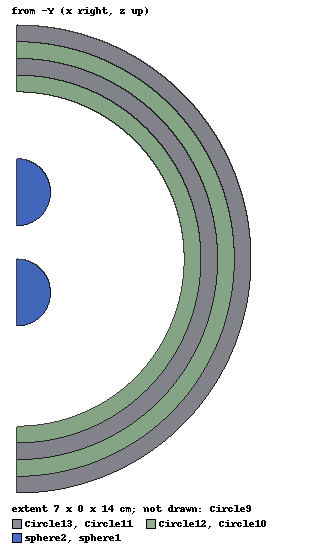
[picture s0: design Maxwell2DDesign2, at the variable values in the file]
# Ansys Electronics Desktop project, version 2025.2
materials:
  vacuum: permittivity=1
  Sphere_J: permeability=1
  Ext1: permeability=0.801713
  Ext2: permeability=2.88849
  Ext3: permeability=0.163862
  Ext4: permeability=37.8756
  Sphere_M: permeability=1 magnetic_coercivity{Magnitude=-320000A_per_meter DirComp1=0 DirComp2=0 DirComp3=1}
  Sphere2_M: permeability=1 magnetic_coercivity{Magnitude=-320000A_per_meter DirComp1=0 DirComp2=0 DirComp3=1}

design Maxwell2DDesign2 (Maxwell 2D, Magnetostatic, about Z geometry, model units cm)
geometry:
  sphere1 [Sphere_M] = circle(normal=Y, centre=(0cm, 0cm, 2cm), radius=1cm)
  sphere2 [Sphere2_M] = circle(normal=Y, centre=(0cm, 0cm, -1cm), radius=1cm)
  Circle9 [vacuum] = circle(normal=Y, centre=(0cm, 0cm, 0cm), radius=5cm)
  Circle10 [Ext1] = circle(normal=Y, centre=(0cm, 0cm, 0cm), radius=5.5cm)
  Circle11 [Ext2] = circle(normal=Y, centre=(0cm, 0cm, 0cm), radius=6cm)
  Circle12 [Ext3] = circle(normal=Y, centre=(0cm, 0cm, 0cm), radius=6.5cm)
  Circle13 [Ext4] = circle(normal=Y, centre=(0cm, 0cm, 0cm), radius=7cm)
  Circle12_1 = Circle12.copy()
  Circle13.subtract(Circle12_1)
  Circle11_1 = Circle11.copy()
  Circle12.subtract(Circle11_1)
  Circle10_1 = Circle10.copy()
  Circle11.subtract(Circle10_1)
  Circle9_1 = Circle9.copy()
  Circle10.subtract(Circle9_1)
  Circle7_1 = sphere1.copy()
  Circle8_1 = sphere2.copy()
  Circle9.subtract(Circle7_1, Circle8_1)
  [sphere1, sphere2, Circle9..Circle13].split(plane=YZ, keep=PositiveOnly)
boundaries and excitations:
  VectorPotentialInf: Vector Potential Edges=Circle13.edge(at (7, 0, 0)) Value=0
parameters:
  Force1: Force Reference_CS=Global Objects=sphere1
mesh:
  initial mesh: GlobalSurfApproximation{CurvedSurfaceApproxChoice=UseSlider SliderMeshSettings=9}
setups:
  Setup1: Magnetostatic MaximumPasses=15 MinimumPasses=2 MinimumConvergedPasses=1 PercentRefinement=30 PercentError=3e-06 NonLinearResidual=0.0001
